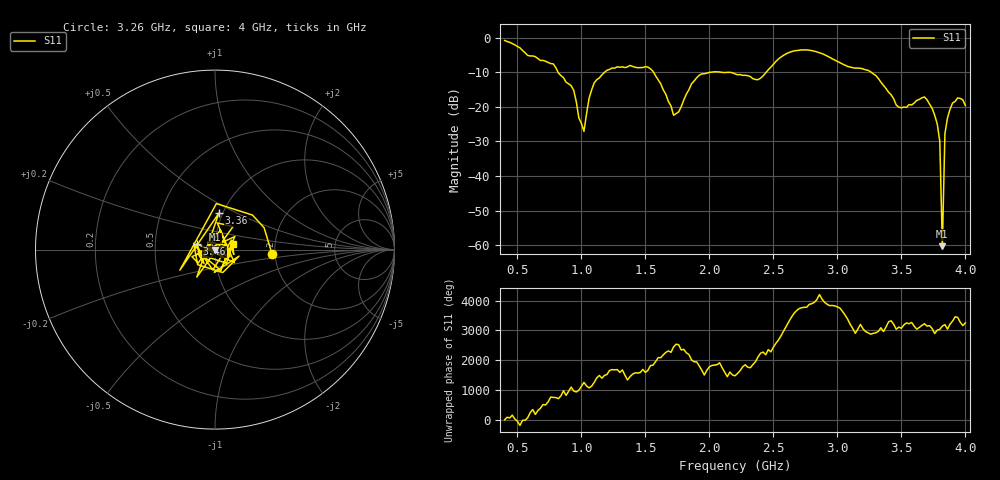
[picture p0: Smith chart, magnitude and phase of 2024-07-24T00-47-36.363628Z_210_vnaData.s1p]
!Created with skrf (http://scikit-rf.org).
# Hz S RI R 50.0
!freq ReS11 ImS11
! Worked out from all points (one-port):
!   181 points, 400 MHz to 4 GHz, reference 50 ohm
!   lowest |S11| = -60.2 dB at 3.82 GHz (marker M1), VSWR 1.00, Z = 50 - j0.0973 ohm
!   |S11| at or under -10 dB: 817.1 MHz to 1.182 GHz (364.7 MHz wide, 36.5 % of centre); 1.564 GHz to 2.014 GHz (450.3 MHz wide, 25.2 % of centre); 3.263 GHz to end of sweep (the widest 3 of 4)
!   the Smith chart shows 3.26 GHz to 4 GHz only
!   S11 on the Smith chart (normalised r, x): 3.26 GHz: 1.93, -0.12; 3.36 GHz: 0.96, +0.41; 3.46 GHz: 0.82, +0.05; 4 GHz: 1.22, +0.07
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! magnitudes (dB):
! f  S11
! 400 MHz  -0.8
! 780 MHz  -7.6
! 860 MHz  -11.6
! 940 MHz  -15.2
! 1.02 GHz  -27.1
! 1.06 GHz  -17.5
! 1.1 GHz  -13.1
! 1.3 GHz  -8.6
! 1.54 GHz  -9.0
! 1.72 GHz  -22.4
! 1.76 GHz  -21.5
! 1.92 GHz  -10.9
! 2.2 GHz  -10.5
! 2.38 GHz  -12.2
! 2.66 GHz  -3.9
! 3.1 GHz  -8.5
! 3.26 GHz  -9.9
! 3.36 GHz  -13.8
! 3.46 GHz  -19.5
! 3.56 GHz  -19.4
! 3.68 GHz  -17.2
! 3.78 GHz  -24.9
! 3.8 GHz  -30.0
! 3.82 GHz  -60.2
! 3.84 GHz  -27.8
! 3.86 GHz  -23.2
! 3.94 GHz  -17.4
! 4 GHz  -19.7
